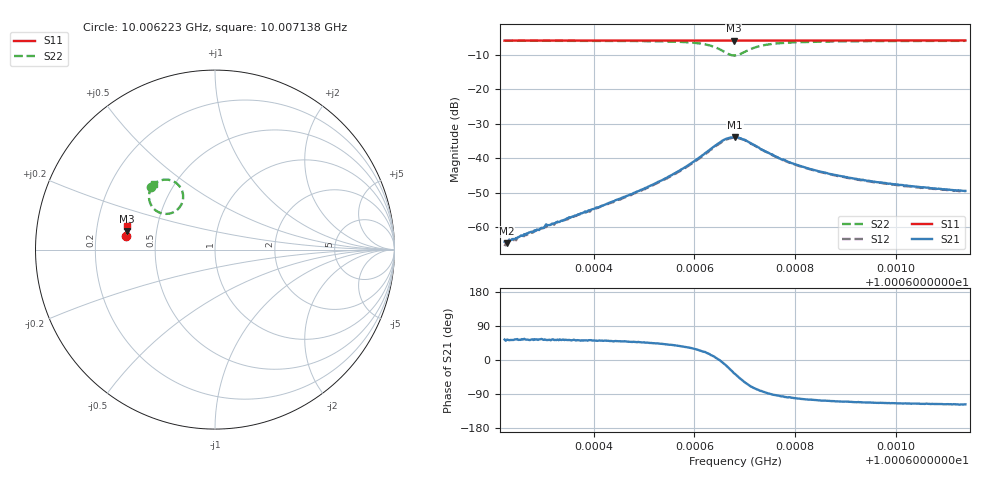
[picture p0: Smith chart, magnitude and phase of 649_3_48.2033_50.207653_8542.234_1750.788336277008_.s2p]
#  HZ  S  RI  R  50.00
! Rohde & Schwarz Vector Network Analyzer
! Rohde-Schwarz,ZNB20-2Port,1311601062101988,3.16
! Created: UTC 3/20/2024, 12:05:09 PM
! freq[Hz]  re:S11  im:S11  re:S21  im:S21  re:S12  im:S12  re:S22  im:S22
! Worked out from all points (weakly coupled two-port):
!   401 points, 10.006223 GHz to 10.007138 GHz, reference 50 ohm
!   highest |S21| = -33.96 dB at 10.00668 GHz (marker M1); lowest = -64.7 dB at 10.006228 GHz (marker M2)
!   lowest |S11| = -6.0 dB at 10.006678 GHz (marker M3), VSWR 3.02, Z = 16.7 + j4.62 ohm
!   |S11| at or under -10 dB: nowhere
!   |S22| runs from -10.3 to -6.0 dB; largest |S21 - S12| = 0.0016
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1.0006223e10  -0.4979 0.0746  0.00036 0.000496  0.000301 0.000435  -0.3553 0.3509
1.00062276e10  -0.498 0.0749  0.000346 0.000472  0.000326 0.000522  -0.355 0.3513
1.00062528e10  -0.4978 0.0765  0.000433 0.000584  0.000364 0.000601  -0.3531 0.3533
1.00062962e10  -0.4975 0.0793  0.000551 0.000805  0.000523 0.000794  -0.3495 0.3568
1.00063077e10  -0.4974 0.0801  0.00065 0.00085  0.000564 0.000873  -0.3484 0.3579
1.00063351e10  -0.4972 0.0821  0.000749 0.000982  0.000665 0.00101  -0.3457 0.3602
1.00063763e10  -0.4966 0.0846  0.000969 0.00125  0.000903 0.00127  -0.3411 0.3643
1.00064563e10  -0.4959 0.0899  0.00173 0.00202  0.00162 0.00204  -0.3286 0.3732
1.00065295e10  -0.4951 0.0947  0.00332 0.00315  0.0031 0.0032  -0.3079 0.3837
1.00065821e10  -0.4941 0.0983  0.00615 0.00418  0.00573 0.00437  -0.2767 0.3899
1.00066256e10  -0.4931 0.1012  0.0118 0.00385  0.0112 0.00433  -0.2228 0.3756
1.00066439e10  -0.4926 0.1022  0.0155 0.00125  0.0151 0.00227  -0.1922 0.3454
1.00066599e10  -0.4919 0.1027  0.0183 -0.00352  0.0179 -0.00238  -0.1775 0.2949
1.00066782e10  -0.4916 0.1033  0.0165 -0.0114  0.017 -0.00982  -0.2052 0.227
1.00066804e10  -0.4918 0.1032  0.0161 -0.012  0.0166 -0.0107  -0.2122 0.2205
1.0006701e10  -0.4921 0.104  0.00917 -0.0158  0.01 -0.0148  -0.2864 0.2
1.0006733e10  -0.4926 0.1061  0.00191 -0.0132  0.00258 -0.0129  -0.3506 0.2393
1.00067857e10  -0.4923 0.1099  -0.00135 -0.00873  -0.00077 -0.0087  -0.3679 0.2925
1.00068337e10  -0.4918 0.113  -0.00176 -0.00659  -0.00142 -0.00659  -0.3654 0.3168
1.00069023e10  -0.4909 0.1176  -0.00181 -0.00498  -0.00154 -0.00496  -0.3588 0.3358
1.00069869e10  -0.4898 0.1231  -0.0017 -0.00391  -0.00149 -0.00393  -0.3514 0.3494
1.00071379e10  -0.4877 0.1327  -0.00152 -0.00298  -0.00135 -0.003  -0.3404 0.3645
